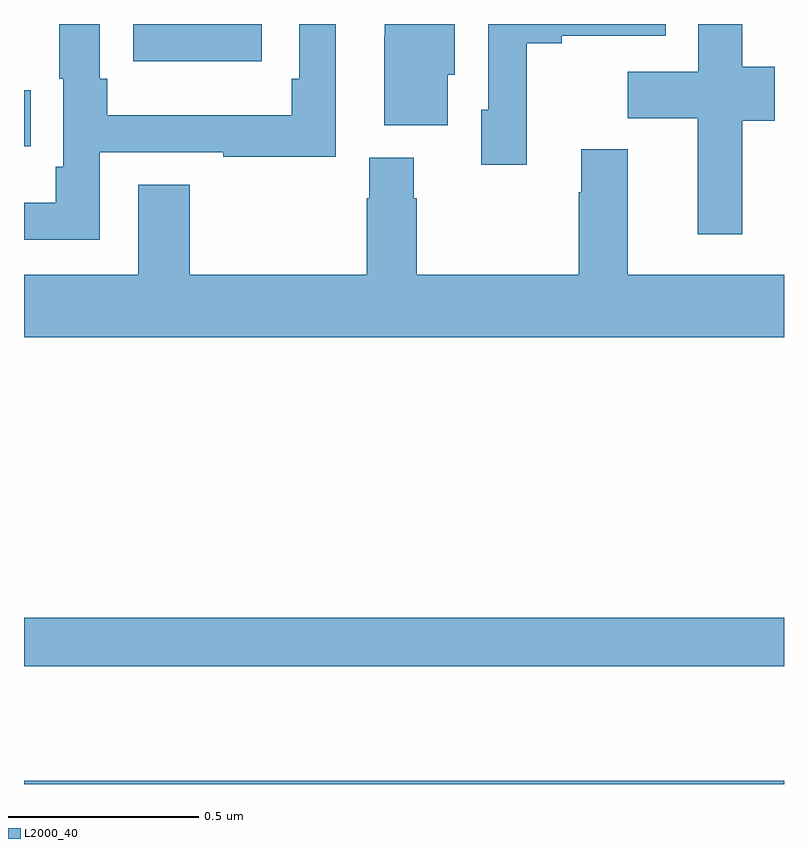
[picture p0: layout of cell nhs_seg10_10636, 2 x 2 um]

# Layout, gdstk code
import gdstk
lib = gdstk.Library(unit=1e-6, precision=1e-09)
def R(c, l, rs):  # rectangles x0, y0, x1, y1
    for r in rs: c.add(gdstk.rectangle(r[:2], r[2:], *l))
def P(c, l, *ps):  # polygons
    for p in ps: c.add(gdstk.Polygon(p, *l))
L2000_40 = (2000, 40)

nhs_seg10_10636 = lib.new_cell('nhs_seg10_10636')
R(nhs_seg10_10636, L2000_40, [(245,1272.5,247,1272.508), (245,1272.81,247,1272.938), (245,1274.178,245.018,1274.326), (245.288,1274.402,245.626,1274.5)])
P(nhs_seg10_10636, L2000_40, [(245.199,1274.163),(245.524,1274.163),(245.524,1274.151),(245.82,1274.151),(245.82,1274.5),(245.724,1274.5),(245.724,1274.356),(245.704,1274.356),(245.704,1274.26),(245.219,1274.26),(245.219,1274.356),(245.199,1274.356),(245.199,1274.5),(245.093,1274.5),(245.093,1274.356),(245.103,1274.356),(245.103,1274.125),(245.083,1274.125),(245.083,1274.029),(245,1274.029),(245,1273.932),(245.199,1273.932)],
  [(246.115,1274.367),(246.133,1274.367),(246.133,1274.5),(245.949,1274.5),(245.949,1274.468),(245.948,1274.468),(245.948,1274.233),(246.115,1274.233)],
  [(246.323,1274.449),(246.415,1274.449),(246.415,1274.469),(246.689,1274.469),(246.689,1274.5),(246.222,1274.5),(246.222,1274.274),(246.203,1274.274),(246.203,1274.13),(246.323,1274.13)],
  [(246.89,1274.245),(246.976,1274.245),(246.976,1274.387),(246.89,1274.387),(246.89,1274.5),(246.774,1274.5),(246.774,1274.374),(246.589,1274.374),(246.589,1274.252),(246.773,1274.252),(246.773,1273.947),(246.89,1273.947)],
  [(247,1273.84),(246.589,1273.84),(246.589,1274.17),(246.467,1274.17),(246.467,1274.057),(246.46,1274.057),(246.46,1273.84),(246.033,1273.84),(246.033,1274.042),(246.025,1274.042),(246.025,1274.148),(245.909,1274.148),(245.909,1274.042),(245.902,1274.042),(245.902,1273.84),(245.436,1273.84),(245.436,1274.077),(245.3,1274.077),(245.3,1273.84),(245,1273.84),(245,1273.676),(247,1273.676)])

lib.write_gds('nhs_seg10_10636.gds')
